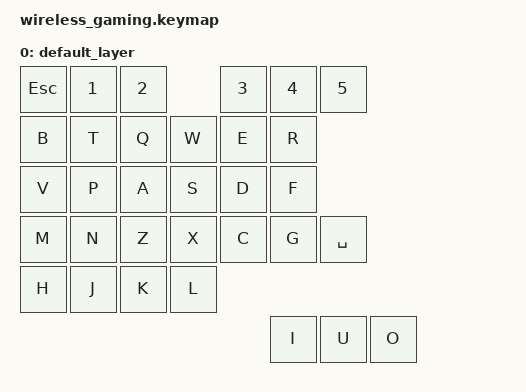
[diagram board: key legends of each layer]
#include <behaviors.dtsi>
#include <dt-bindings/zmk/keys.h>

/ {
    keymap {
        compatible = "zmk,keymap";

        default_layer {
            bindings = <
            &kp ESC &kp N1 &kp N2 &kp N3 &kp N4 &kp N5 
            &kp B &kp T &kp Q &kp W &kp E &kp R 
            &kp V &kp P &kp A &kp S &kp D &kp F 
            &kp M &kp N &kp Z &kp X &kp C &kp G &kp SPACE 
            &kp H &kp J &kp K &kp L
                                         &kp I &kp U &kp O
            >;
        };
    };
};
